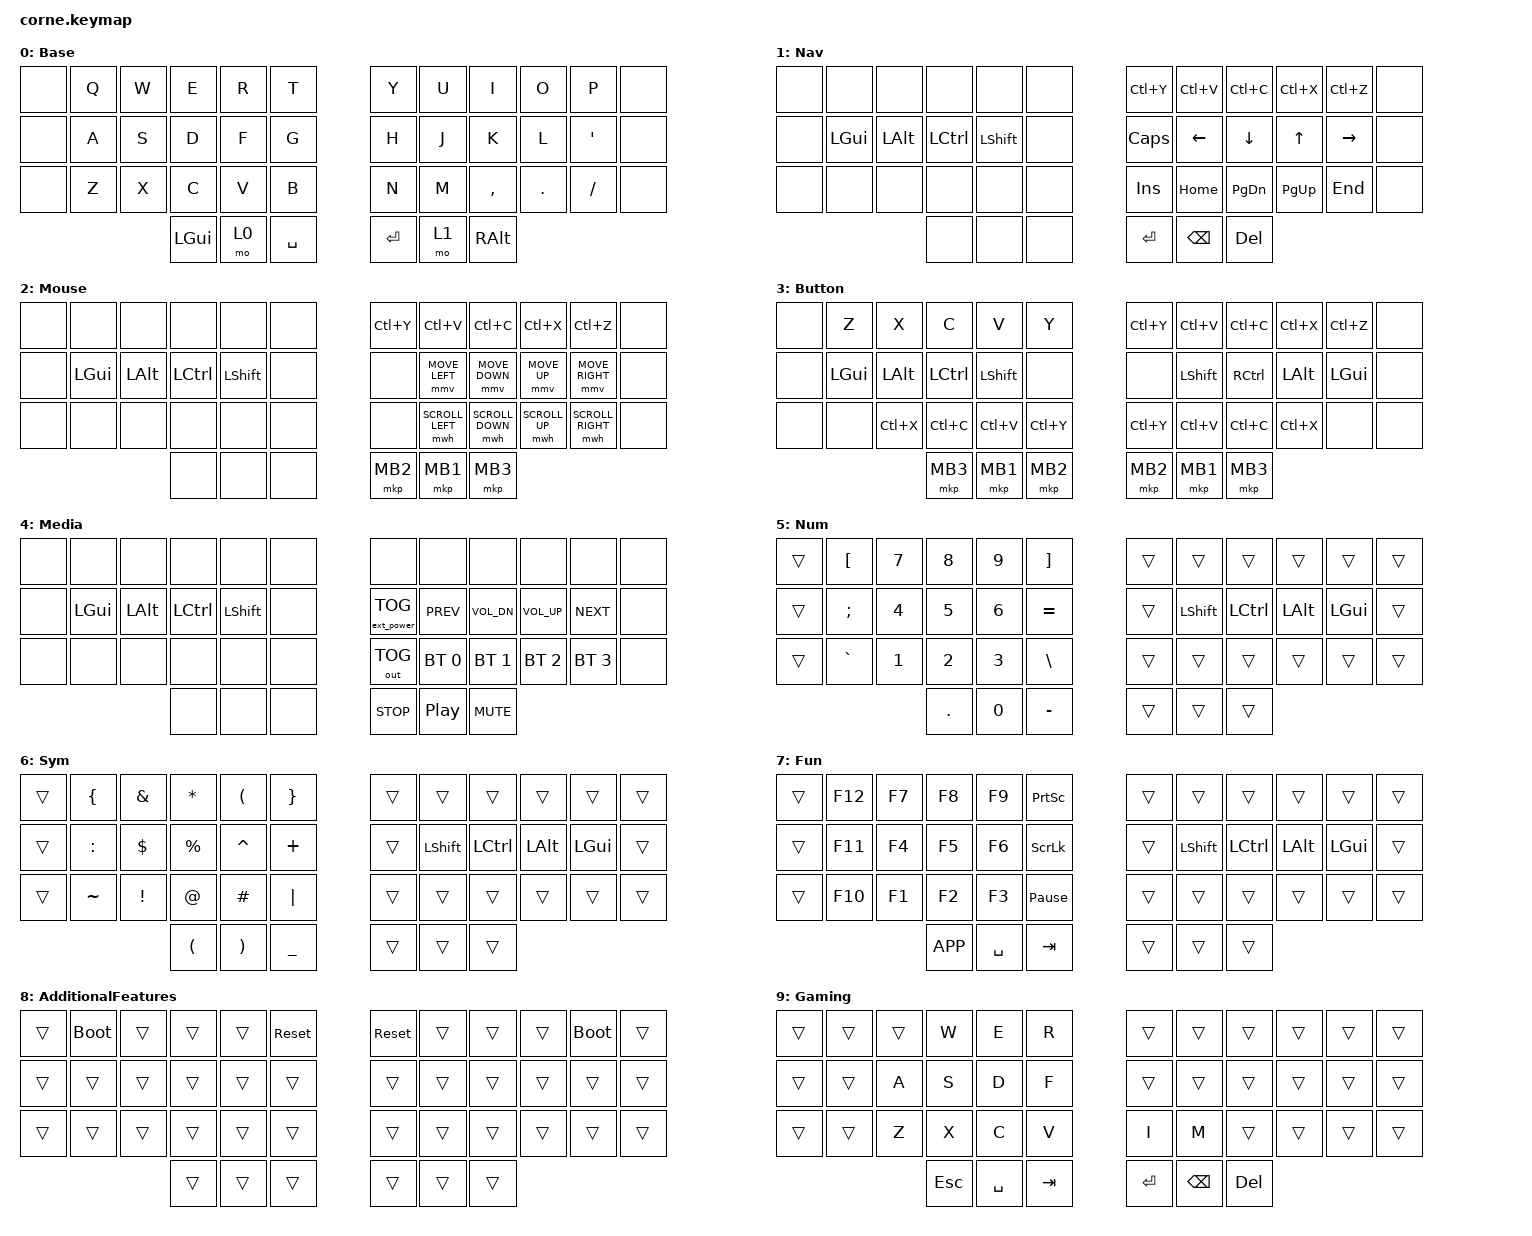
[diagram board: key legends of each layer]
/*
 * Copyright (c) 2020 The ZMK Contributors
 *
 * SPDX-License-Identifier: MIT
 */

#include <behaviors.dtsi>
#include <dt-bindings/zmk/bt.h>
#include <dt-bindings/zmk/ext_power.h>
#include <dt-bindings/zmk/keys.h>
#include <dt-bindings/zmk/mouse.h>
#include <dt-bindings/zmk/outputs.h>

/ {
    keymap {
        compatible = "zmk,keymap";

        Base {
            // -----------------------------------------------------------------------------------------
            // |  TAB |  Q  |  W  |  E  |  R  |  T  |   |  Y  |  U   |  I  |  O  |  P  | BKSP |
            // | CTRL |  A  |  S  |  D  |  F  |  G  |   |  H  |  J   |  K  |  L  |  ;  |  '   |
            // | SHFT |  Z  |  X  |  C  |  V  |  B  |   |  N  |  M   |  ,  |  .  |  /  | ESC  |
            //                    | GUI | LWR | SPC |   | ENT | RSE  | ALT |

            bindings = <
&none  &kp Q  &kp W  &kp E     &kp R  &kp T        &kp Y    &kp U  &kp I      &kp O    &kp P     &none
&none  &kp A  &kp S  &kp D     &kp F  &kp G        &kp H    &kp J  &kp K      &kp L    &kp SQT   &none
&none  &kp Z  &kp X  &kp C     &kp V  &kp B        &kp N    &kp M  &kp COMMA  &kp DOT  &kp FSLH  &none
                     &kp LGUI  &mo 0  &kp SPACE    &kp RET  &mo 1  &kp RALT
            >;
        };

        Nav {
            bindings = <
&none  &none         &none         &none             &none           &none    &kp LC(Y)     &kp LC(V)      &kp LC(C)      &kp LC(X)    &kp LC(Z)  &none
&none  &kp LEFT_GUI  &kp LEFT_ALT  &kp LEFT_CONTROL  &kp LEFT_SHIFT  &none    &kp CAPSLOCK  &kp LEFT       &kp DOWN       &kp UP       &kp RIGHT  &none
&none  &none         &none         &none             &none           &none    &kp INSERT    &kp HOME       &kp PAGE_DOWN  &kp PAGE_UP  &kp END    &none
                                   &none             &none           &none    &kp ENTER     &kp BACKSPACE  &kp DEL
            >;
        };

        Mouse {
            bindings = <
&none  &none         &none         &none             &none           &none    &kp LC(Y)  &kp LC(V)         &kp LC(C)         &kp LC(X)       &kp LC(Z)          &none
&none  &kp LEFT_GUI  &kp LEFT_ALT  &kp LEFT_CONTROL  &kp LEFT_SHIFT  &none    &none      &mmv MOVE_LEFT    &mmv MOVE_DOWN    &mmv MOVE_UP    &mmv MOVE_RIGHT    &none
&none  &none         &none         &none             &none           &none    &none      &mwh SCROLL_LEFT  &mwh SCROLL_DOWN  &mwh SCROLL_UP  &mwh SCROLL_RIGHT  &none
                                   &none             &none           &none    &mkp MB2   &mkp MB1          &mkp MB3
            >;
        };

        Button {
            bindings = <
&none  &kp Z     &kp X      &kp C      &kp V      &kp Y        &kp LC(Y)  &kp LC(V)       &kp LC(C)          &kp LC(X)     &kp LC(Z)  &none
&none  &kp LGUI  &kp LALT   &kp LCTRL  &kp LSHFT  &none        &none      &kp LEFT_SHIFT  &kp RIGHT_CONTROL  &kp LEFT_ALT  &kp LGUI   &none
&none  &none     &kp LC(X)  &kp LC(C)  &kp LC(V)  &kp LC(Y)    &kp LC(Y)  &kp LC(V)       &kp LC(C)          &kp LC(X)     &none      &none
                            &mkp MB3   &mkp MB1   &mkp MB2     &mkp MB2   &mkp MB1        &mkp MB3
            >;
        };

        Media {
            bindings = <
&none  &none     &none     &none      &none      &none    &none              &none             &none         &none         &none         &none
&none  &kp LGUI  &kp LALT  &kp LCTRL  &kp LSHFT  &none    &ext_power EP_TOG  &kp C_PREV        &kp C_VOL_DN  &kp C_VOL_UP  &kp C_NEXT    &none
&none  &none     &none     &none      &none      &none    &out OUT_TOG       &bt BT_SEL 0      &bt BT_SEL 1  &bt BT_SEL 2  &bt BT_SEL 3  &none
                           &none      &none      &none    &kp C_STOP         &kp C_PLAY_PAUSE  &kp C_MUTE
            >;
        };

        Num {
            bindings = <
&trans  &kp LEFT_BRACKET  &kp N7  &kp N8   &kp N9  &kp RBKT     &trans  &trans     &trans     &trans    &trans    &trans
&trans  &kp SEMI          &kp N4  &kp N5   &kp N6  &kp EQUAL    &trans  &kp LSHFT  &kp LCTRL  &kp LALT  &kp LGUI  &trans
&trans  &kp GRAVE         &kp N1  &kp N2   &kp N3  &kp BSLH     &trans  &trans     &trans     &trans    &trans    &trans
                                  &kp DOT  &kp N0  &kp MINUS    &trans  &trans     &trans
            >;
        };

        Sym {
            bindings = <
&trans  &kp LEFT_BRACE  &kp AMPERSAND    &kp ASTERISK          &kp LEFT_PARENTHESIS   &kp RIGHT_BRACE    &trans  &trans     &trans     &trans    &trans    &trans
&trans  &kp COLON       &kp DOLLAR       &kp PRCNT             &kp CARET              &kp PLUS           &trans  &kp LSHFT  &kp LCTRL  &kp LALT  &kp LGUI  &trans
&trans  &kp TILDE       &kp EXCLAMATION  &kp AT_SIGN           &kp HASH               &kp PIPE           &trans  &trans     &trans     &trans    &trans    &trans
                                         &kp LEFT_PARENTHESIS  &kp RIGHT_PARENTHESIS  &kp UNDER          &trans  &trans     &trans
            >;
        };

        Fun {
            bindings = <
&trans  &kp F12  &kp F7  &kp F8     &kp F9     &kp PRINTSCREEN    &trans  &trans     &trans     &trans    &trans    &trans
&trans  &kp F11  &kp F4  &kp F5     &kp F6     &kp SCROLLLOCK     &trans  &kp LSHFT  &kp LCTRL  &kp LALT  &kp LGUI  &trans
&trans  &kp F10  &kp F1  &kp F2     &kp F3     &kp PAUSE_BREAK    &trans  &trans     &trans     &trans    &trans    &trans
                         &kp K_APP  &kp SPACE  &kp TAB            &trans  &trans     &trans
            >;
        };

        AdditionalFeatures {
            bindings = <
&trans  &bootloader  &trans  &trans  &trans  &sys_reset    &sys_reset  &trans  &trans  &trans  &bootloader  &trans
&trans  &trans       &trans  &trans  &trans  &trans        &trans      &trans  &trans  &trans  &trans       &trans
&trans  &trans       &trans  &trans  &trans  &trans        &trans      &trans  &trans  &trans  &trans       &trans
                             &trans  &trans  &trans        &trans      &trans  &trans
            >;
        };

        Gaming {
            bindings = <
&trans  &trans  &trans  &kp W    &kp E      &kp R      &trans     &trans    &trans   &trans  &trans  &trans
&trans  &trans  &kp A   &kp S    &kp D      &kp F      &trans     &trans    &trans   &trans  &trans  &trans
&trans  &trans  &kp Z   &kp X    &kp C      &kp V      &kp I      &kp M     &trans   &trans  &trans  &trans
                        &kp ESC  &kp SPACE  &kp TAB    &kp ENTER  &kp BSPC  &kp DEL
            >;
        };
    };
};
